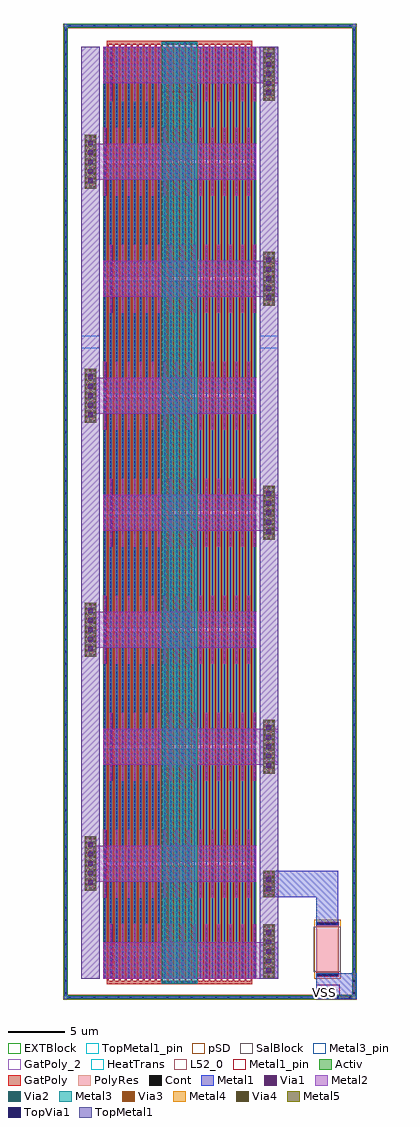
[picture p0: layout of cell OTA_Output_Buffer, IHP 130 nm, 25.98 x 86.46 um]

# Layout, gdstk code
from math import pi, radians
import gdstk
lib = gdstk.Library(unit=1e-6, precision=1e-09)
def R(c, l, rs):  # rectangles x0, y0, x1, y1
    for r in rs: c.add(gdstk.rectangle(r[:2], r[2:], *l))
def A(c, l, x, y, w, h, nx, ny, dx, dy):  # array of equal rectangles
    R(c, l, [(x+i*dx, y+j*dy, x+i*dx+w, y+j*dy+h) for i in range(nx) for j in range(ny)])
Activ = (1, 0)
GatPoly = (5, 0)
GatPoly_2 = (5, 2)
Cont = (6, 0)
Metal1 = (8, 0)
Metal1_pin = (8, 2)
Metal2 = (10, 0)
pSD = (14, 0)
Via1 = (19, 0)
SalBlock = (28, 0)
Via2 = (29, 0)
Metal3 = (30, 0)
Metal3_pin = (30, 2)
Via3 = (49, 0)
Metal4 = (50, 0)
HeatTrans = (51, 0)
L52_0 = (52, 0)
Via4 = (66, 0)
Metal5 = (67, 0)
EXTBlock = (111, 0)
TopVia1 = (125, 0)
TopMetal1 = (126, 0)
TopMetal1_pin = (126, 2)
PolyRes = (128, 0)

rppd_2_1 = lib.new_cell('rppd$2$1')
R(rppd_2_1, GatPoly, [(0,-0.43,2,-0.2), (0,-0.2,2,0), (0,4,2,4.2), (0,4.2,2,4.43)])
R(rppd_2_1, Cont, [(0.07,-0.36,1.93,-0.2), (0.07,4.2,1.93,4.36)])
R(rppd_2_1, Metal1, [(0.02,-0.43,1.98,-0.13), (0.02,4.13,1.98,4.43)])
R(rppd_2_1, Metal1_pin, [(0.02,-0.43,1.98,-0.13), (0.02,4.13,1.98,4.43)])
R(rppd_2_1, pSD, [(-0.18,-0.61,2.18,0), (-0.18,0,2.18,4), (-0.18,4,2.18,4.61)])
R(rppd_2_1, SalBlock, [(-0.2,0,2.2,4)])
R(rppd_2_1, L52_0, [(0,0,2,4)])
R(rppd_2_1, EXTBlock, [(-0.18,-0.61,2.18,0), (-0.2,0,2.2,4), (-0.18,4,2.18,4.61)])
R(rppd_2_1, PolyRes, [(0,0,2,4)])
rppd_2_1.add(gdstk.Label('rppd r=553.445', (1,2), layer=63, texttype=0))
rppd_2_1.add(gdstk.Label('rppd', (1,2), layer=52, texttype=0))

nmos_1_2 = lib.new_cell('nmos$1$2')
R(nmos_1_2, Activ, [(0,0,0.3,0.3), (0,0,0.83,10), (0.53,0,0.83,0.3)])
R(nmos_1_2, GatPoly, [(0.34,-0.18,0.49,10.18)])
R(nmos_1_2, GatPoly_2, [(0.34,-0.18,0.49,10.18)])
A(nmos_1_2, Cont, 0.07, 0.07, 0.16, 0.16, 1, 4, 0, 0.345)
A(nmos_1_2, Cont, 0.6, 0.07, 0.16, 0.16, 1, 4, 0, 0.345)
A(nmos_1_2, Cont, 0.07, 1.455, 0.16, 0.16, 1, 3, 0, 0.345)
A(nmos_1_2, Cont, 0.6, 1.455, 0.16, 0.16, 1, 3, 0, 0.345)
A(nmos_1_2, Cont, 0.07, 2.495, 0.16, 0.16, 1, 4, 0, 0.345)
A(nmos_1_2, Cont, 0.6, 2.495, 0.16, 0.16, 1, 4, 0, 0.345)
A(nmos_1_2, Cont, 0.07, 3.88, 0.16, 0.16, 1, 3, 0, 0.345)
A(nmos_1_2, Cont, 0.6, 3.88, 0.16, 0.16, 1, 3, 0, 0.345)
A(nmos_1_2, Cont, 0.07, 4.92, 0.16, 0.16, 1, 4, 0, 0.345)
A(nmos_1_2, Cont, 0.6, 4.92, 0.16, 0.16, 1, 4, 0, 0.345)
A(nmos_1_2, Cont, 0.07, 6.305, 0.16, 0.16, 1, 3, 0, 0.345)
A(nmos_1_2, Cont, 0.6, 6.305, 0.16, 0.16, 1, 3, 0, 0.345)
A(nmos_1_2, Cont, 0.07, 7.345, 0.16, 0.16, 1, 4, 0, 0.345)
A(nmos_1_2, Cont, 0.6, 7.345, 0.16, 0.16, 1, 4, 0, 0.345)
A(nmos_1_2, Cont, 0.07, 8.73, 0.16, 0.16, 1, 3, 0, 0.345)
A(nmos_1_2, Cont, 0.6, 8.73, 0.16, 0.16, 1, 3, 0, 0.345)
R(nmos_1_2, Cont, [(0.07,9.77,0.23,9.93), (0.6,9.77,0.76,9.93)])
R(nmos_1_2, Metal1, [(0.07,0,0.23,10), (0.6,0,0.76,10)])
R(nmos_1_2, Metal1_pin, [(0.07,0,0.23,10), (0.6,0,0.76,10)])
R(nmos_1_2, HeatTrans, [(0.34,-0.18,0.49,10.18)])
nmos_1_2.add(gdstk.Label('nmos', (0.415,5), layer=63, texttype=0))
nmos_1_2.add(gdstk.Label('nmos', (0.415,5), layer=51, texttype=0))

via_stack_41 = lib.new_cell('via_stack$41')
R(via_stack_41, Metal2, [(-0.51,-2.4,0.51,2.4)])
A(via_stack_41, Via2, -0.505, -2.35, 0.19, 0.19, 3, 12, 0.41, 0.41)
R(via_stack_41, Metal3, [(-0.51,-2.4,0.51,2.4)])
A(via_stack_41, Via3, -0.505, -2.35, 0.19, 0.19, 3, 12, 0.41, 0.41)
R(via_stack_41, Metal4, [(-0.51,-2.4,0.51,2.4)])
A(via_stack_41, Via4, -0.505, -2.35, 0.19, 0.19, 3, 12, 0.41, 0.41)
R(via_stack_41, Metal5, [(-0.51,-2.4,0.51,2.4)])
A(via_stack_41, TopVia1, -0.21, -1.89, 0.42, 0.42, 1, 5, 0, 0.84)
R(via_stack_41, TopMetal1, [(-0.82,-2.31,0.82,2.31)])

via_stack_2_2 = lib.new_cell('via_stack$2$2')
R(via_stack_2_2, Metal1, [(-0.105,-3.015,0.105,3.015)])
R(via_stack_2_2, Metal2, [(-0.1,-3.015,0.1,3.015)])
A(via_stack_2_2, Via1, -0.095, -2.965, 0.19, 0.19, 1, 15, 0, 0.41)

sourcerow = lib.new_cell('SourceRow')
R(sourcerow, Metal2, [(0.31,1.415,15.5,4.615)])
sourcerow.add(gdstk.Reference(via_stack_41, (0.82,3.015)))
r = gdstk.Reference(via_stack_2_2, (2.1,3.015)); r.repetition = gdstk.Repetition(13, 1, v1=(1.06,0), v2=(0,0)); sourcerow.add(r)

drainrow = lib.new_cell('DrainRow')
R(drainrow, Metal2, [(0,1.415,15.5,4.615)])
r = gdstk.Reference(via_stack_2_2, (0.68,3.015)); r.repetition = gdstk.Repetition(13, 1, v1=(1.06,0), v2=(0,0)); drainrow.add(r)
drainrow.add(gdstk.Reference(via_stack_41, (14.68,3.015)))

via_stack_3_2 = lib.new_cell('via_stack$3$2')
R(via_stack_3_2, Metal1, [(-0.105,-2.4,0.105,2.4)])
R(via_stack_3_2, Metal2, [(-0.1,-2.4,0.1,2.4)])
A(via_stack_3_2, Via1, -0.095, -2.35, 0.19, 0.19, 1, 12, 0, 0.41)

topbottomdrainrow = lib.new_cell('TopBottomDrainRow')
R(topbottomdrainrow, Metal2, [(0,1.6,15.5,4.8)])
topbottomdrainrow.add(gdstk.Reference(via_stack_41, (14.68,2.415)))
r = gdstk.Reference(via_stack_3_2, (0.68,2.4)); r.repetition = gdstk.Repetition(13, 1, v1=(1.06,0), v2=(0,0)); topbottomdrainrow.add(r)

metal1box = lib.new_cell('Metal1Box')
R(metal1box, Metal1, [(0,0,0.16,0.36)])

via_stack_4_1 = lib.new_cell('via_stack$4$1')
R(via_stack_4_1, GatPoly, [(-1.34,-0.15,1.34,0.15)])
A(via_stack_4_1, Cont, -1.27, -0.08, 0.16, 0.16, 8, 1, 0.34, 0)
R(via_stack_4_1, Metal1, [(-1.58,-0.105,1.58,0.105)])
R(via_stack_4_1, Metal2, [(-1.58,-0.1,1.58,0.1)])
A(via_stack_4_1, Via1, -1.53, -0.095, 0.19, 0.19, 8, 1, 0.41, 0)
A(via_stack_4_1, Via2, -1.53, -0.095, 0.19, 0.19, 8, 1, 0.41, 0)
R(via_stack_4_1, Metal3, [(-1.58,-0.1,1.58,0.1)])

gatebar = lib.new_cell('GateBar')
R(gatebar, GatPoly, [(0,0,12.87,0.35)])
gatebar.add(gdstk.Reference(via_stack_4_1, (6.435,0.175), x_reflection=True))

m_sf_wroutings = lib.new_cell('M_SF_wRoutings')
R(m_sf_wroutings, Metal3, [(73.835,-22.91,76.995,60.53)])
R(m_sf_wroutings, Metal3_pin, [(73.835,-20.96,76.995,-18.44)])
R(m_sf_wroutings, TopMetal1, [(66.69,-22.45,68.33,60.085), (82.5,-22.45,84.14,60.085)])
R(m_sf_wroutings, TopMetal1_pin, [(66.69,3.145,68.33,4.22), (82.5,3.145,84.14,4.22)])
r = gdstk.Reference(nmos_1_2, (68.64,-22.45)); r.repetition = gdstk.Repetition(25, 8, v1=(0.53,0), v2=(0,10.36)); m_sf_wroutings.add(r)
r = gdstk.Reference(sourcerow, (66.69,-15.285)); r.repetition = gdstk.Repetition(1, 4, v1=(0,0), v2=(0,20.72)); m_sf_wroutings.add(r)
r = gdstk.Reference(drainrow, (68.64,-4.925)); r.repetition = gdstk.Repetition(1, 3, v1=(0,0), v2=(0,20.72)); m_sf_wroutings.add(r)
m_sf_wroutings.add(gdstk.Reference(via_stack_41, (67.51,-12.27)))
m_sf_wroutings.add(gdstk.Reference(topbottomdrainrow, (68.64,55.27)))
m_sf_wroutings.add(gdstk.Reference(topbottomdrainrow, (68.64,-17.65), x_reflection=True))
r = gdstk.Reference(metal1box, (68.71,-12.45)); r.repetition = gdstk.Repetition(26, 7, v1=(0.53,0), v2=(0,10.36)); m_sf_wroutings.add(r)
m_sf_wroutings.add(gdstk.Reference(gatebar, (68.98,-22.63), x_reflection=True))
m_sf_wroutings.add(gdstk.Reference(gatebar, (68.98,60.25)))
m_sf_wroutings.add(gdstk.Label('Vin', (75.16,-19.785), layer=30, texttype=25))
m_sf_wroutings.add(gdstk.Label('VDD', (67.46,3.67), layer=126, texttype=25))
m_sf_wroutings.add(gdstk.Label('Vout', (83.27,3.67), layer=126, texttype=25))

via_stack_5 = lib.new_cell('via_stack$5')
R(via_stack_5, Metal1, [(-0.515,-1.17,0.515,1.17)])
R(via_stack_5, Metal2, [(-0.51,-1.17,0.51,1.17)])
A(via_stack_5, Via1, -0.505, -1.12, 0.19, 0.19, 3, 6, 0.41, 0.41)
A(via_stack_5, Via2, -0.505, -1.12, 0.19, 0.19, 3, 6, 0.41, 0.41)
R(via_stack_5, Metal3, [(-0.51,-1.17,0.51,1.17)])
A(via_stack_5, Via3, -0.505, -1.12, 0.19, 0.19, 3, 6, 0.41, 0.41)
R(via_stack_5, Metal4, [(-0.51,-1.17,0.51,1.17)])
A(via_stack_5, Via4, -0.505, -1.12, 0.19, 0.19, 3, 6, 0.41, 0.41)
R(via_stack_5, Metal5, [(-0.51,-1.17,0.51,1.17)])
R(via_stack_5, TopVia1, [(-0.21,-0.63,0.21,-0.21), (-0.21,0.21,0.21,0.63)])
R(via_stack_5, TopMetal1, [(-0.82,-1.05,0.82,1.05)])

m1_cont1_nmos = lib.new_cell('M1_Cont1_NMOS')
R(m1_cont1_nmos, Activ, [(-0.53,-0.175,0.55,0.165)])
R(m1_cont1_nmos, Cont, [(-0.07,-0.085,0.09,0.075)])
R(m1_cont1_nmos, Metal1, [(-0.53,-0.085,0.55,0.075)])
R(m1_cont1_nmos, Metal1_pin, [(-0.53,-0.085,0.55,0.075)])
R(m1_cont1_nmos, pSD, [(-0.56,-0.205,0.58,0.195)])

ota_output_buffer = lib.new_cell('OTA_Output_Buffer')
R(ota_output_buffer, Metal1, [(20.83,-1.3,24.405,1), (20.83,5.56,22.79,10.08), (16.115,7.74,20.83,10.08)])
R(ota_output_buffer, Metal1_pin, [(20.83,-1.3,22.925,-0.035)])
ota_output_buffer.add(gdstk.Reference(rppd_2_1, (20.81,5.13), x_reflection=True))
ota_output_buffer.add(gdstk.Reference(m_sf_wroutings, (-66.69,60.6), x_reflection=True))
ota_output_buffer.add(gdstk.Reference(via_stack_5, (16.63,8.91), x_reflection=True))
r = gdstk.Reference(m1_cont1_nmos, (24.2,-0.77), rotation=pi/2); r.repetition = gdstk.Repetition(80, 1, v1=(0,1.08), v2=(0,0)); ota_output_buffer.add(r)
r = gdstk.Reference(m1_cont1_nmos, (-1.015,-1.125)); r.repetition = gdstk.Repetition(24, 1, v1=(1.08,0), v2=(0,0)); ota_output_buffer.add(r)
r = gdstk.Reference(m1_cont1_nmos, (-1.015,84.935)); r.repetition = gdstk.Repetition(24, 1, v1=(1.08,0), v2=(0,0)); ota_output_buffer.add(r)
r = gdstk.Reference(m1_cont1_nmos, (-1.38,-0.77), rotation=pi/2); r.repetition = gdstk.Repetition(80, 1, v1=(0,1.08), v2=(0,0)); ota_output_buffer.add(r)
ota_output_buffer.add(gdstk.Label('VSS', (21.55,-0.695), layer=8, texttype=25))

lib.write_gds('OTA_Output_Buffer.gds')
